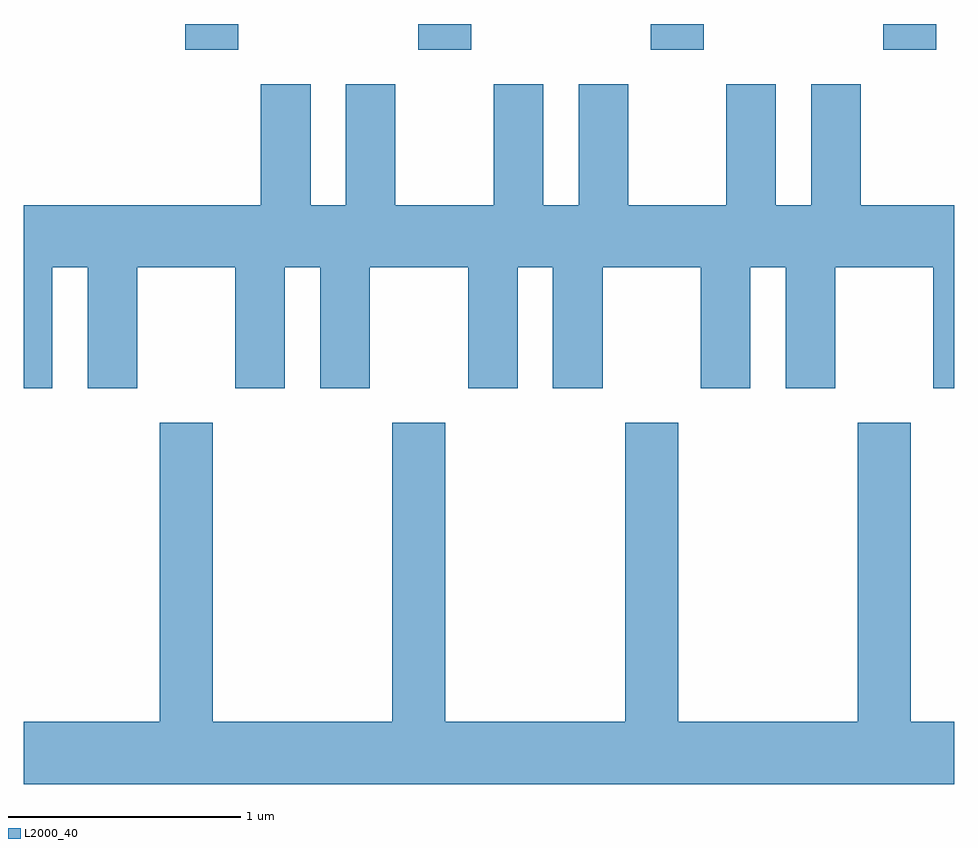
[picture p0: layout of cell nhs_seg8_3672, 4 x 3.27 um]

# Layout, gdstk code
import gdstk
lib = gdstk.Library(unit=1e-6, precision=1e-09)
def R(c, l, rs):  # rectangles x0, y0, x1, y1
    for r in rs: c.add(gdstk.rectangle(r[:2], r[2:], *l))
def A(c, l, x, y, w, h, nx, ny, dx, dy):  # array of equal rectangles
    R(c, l, [(x+i*dx, y+j*dy, x+i*dx+w, y+j*dy+h) for i in range(nx) for j in range(ny)])
def P(c, l, *ps):  # polygons
    for p in ps: c.add(gdstk.Polygon(p, *l))
L2000_40 = (2000, 40)

nhs_seg8_3672 = lib.new_cell('nhs_seg8_3672')
A(nhs_seg8_3672, L2000_40, 296.306, 1846.231, 0.228, 0.111, 4, 1, 1, 0)
P(nhs_seg8_3672, L2000_40, [(295.734,1845.296),(295.886,1845.296),(295.886,1844.776),(296.099,1844.776),(296.099,1845.296),(296.521,1845.296),(296.521,1844.776),(296.734,1844.776),(296.734,1845.296),(296.886,1845.296),(296.886,1844.776),(297.099,1844.776),(297.099,1845.296),(297.521,1845.296),(297.521,1844.776),(297.734,1844.776),(297.734,1845.296),(297.886,1845.296),(297.886,1844.776),(298.099,1844.776),(298.099,1845.296),(298.521,1845.296),(298.521,1844.776),(298.734,1844.776),(298.734,1845.296),(298.886,1845.296),(298.886,1844.776),(299.099,1844.776),(299.099,1845.296),(299.521,1845.296),(299.521,1844.776),(299.611,1844.776),(299.611,1845.564),(299.209,1845.564),(299.209,1846.084),(298.996,1846.084),(298.996,1845.564),(298.844,1845.564),(298.844,1846.084),(298.631,1846.084),(298.631,1845.564),(298.209,1845.564),(298.209,1846.084),(297.996,1846.084),(297.996,1845.564),(297.844,1845.564),(297.844,1846.084),(297.631,1846.084),(297.631,1845.564),(297.209,1845.564),(297.209,1846.084),(296.996,1846.084),(296.996,1845.564),(296.844,1845.564),(296.844,1846.084),(296.631,1846.084),(296.631,1845.564),(295.611,1845.564),(295.611,1844.776),(295.734,1844.776)],
  [(297.196,1844.629),(297.196,1843.344),(296.424,1843.344),(296.424,1844.629),(296.196,1844.629),(296.196,1843.344),(295.611,1843.344),(295.611,1843.076),(299.611,1843.076),(299.611,1843.344),(299.424,1843.344),(299.424,1844.629),(299.196,1844.629),(299.196,1843.344),(298.424,1843.344),(298.424,1844.629),(298.196,1844.629),(298.196,1843.344),(297.424,1843.344),(297.424,1844.629)])

lib.write_gds('nhs_seg8_3672.gds')
